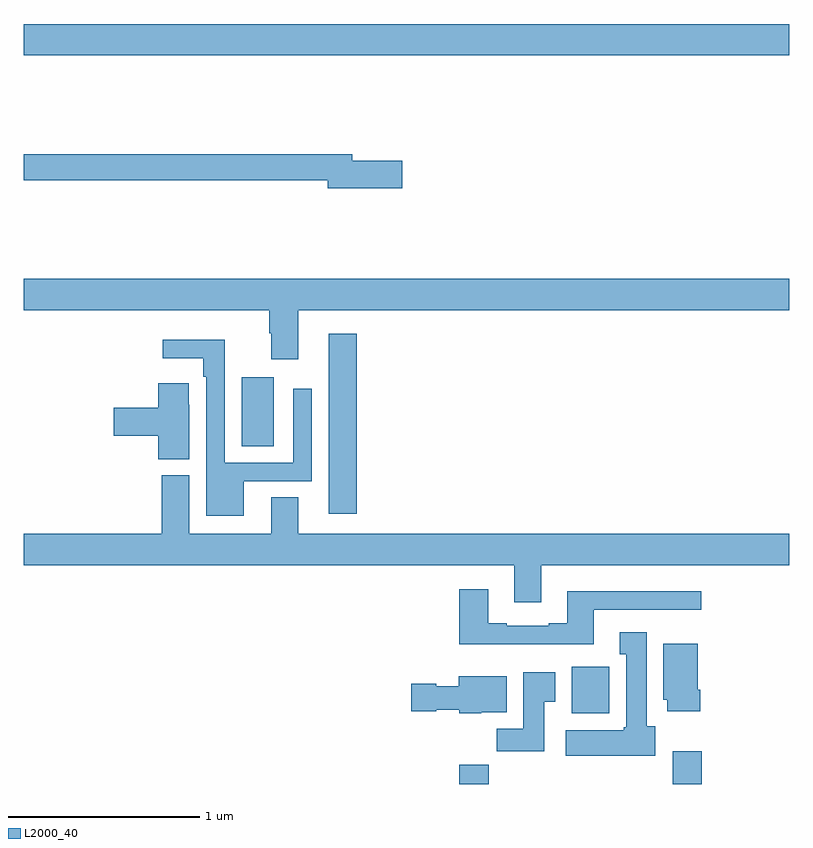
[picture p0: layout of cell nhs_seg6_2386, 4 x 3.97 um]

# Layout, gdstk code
import gdstk
lib = gdstk.Library(unit=1e-6, precision=1e-09)
def R(c, l, rs):  # rectangles x0, y0, x1, y1
    for r in rs: c.add(gdstk.rectangle(r[:2], r[2:], *l))
def P(c, l, *ps):  # polygons
    for p in ps: c.add(gdstk.Polygon(p, *l))
L2000_40 = (2000, 40)

nhs_seg6_2386 = lib.new_cell('nhs_seg6_2386')
R(nhs_seg6_2386, L2000_40, [(255.275,971.5,255.431,971.6), (256.391,971.5,256.544,971.671), (255.863,971.87,256.06,972.112), (254.594,972.912,254.741,973.852), (254.138,973.264,254.305,973.627), (253,975.308,257,975.472)])
P(nhs_seg6_2386, L2000_40, [(254.977,974.756),(254.716,974.756),(254.716,974.792),(253,974.792),(253,974.656),(254.588,974.656),(254.588,974.614),(254.977,974.614)],
  [(254.434,973.976),(257,973.976),(257,974.14),(253,974.14),(253,973.976),(254.282,973.976),(254.282,973.856),(254.294,973.856),(254.294,973.719),(254.434,973.719)],
  [(254.149,973.083),(254.505,973.083),(254.505,973.567),(254.409,973.567),(254.409,973.179),(254.049,973.179),(254.049,973.822),(253.725,973.822),(253.725,973.724),(253.937,973.724),(253.937,973.628),(253.953,973.628),(253.953,972.902),(254.149,972.902)],
  [(253.864,973.481),(253.863,973.481),(253.863,973.594),(253.703,973.594),(253.703,973.466),(253.47,973.466),(253.47,973.319),(253.703,973.319),(253.703,973.198),(253.864,973.198)],
  [(255.563,972.45),(255.703,972.45),(255.703,972.644),(257,972.644),(257,972.808),(254.434,972.808),(254.434,972.998),(254.294,972.998),(254.294,972.808),(253.864,972.808),(253.864,973.113),(253.721,973.113),(253.721,972.808),(253,972.808),(253,972.644),(255.563,972.644)],
  [(255.979,972.411),(256.54,972.411),(256.54,972.508),(255.839,972.508),(255.839,972.34),(255.743,972.34),(255.743,972.327),(255.523,972.327),(255.523,972.34),(255.427,972.34),(255.427,972.517),(255.275,972.517),(255.275,972.23),(255.979,972.23)],
  [(256.3,971.802),(256.255,971.802),(256.255,972.292),(256.115,972.292),(256.115,972.179),(256.148,972.179),(256.148,971.796),(256.135,971.796),(256.135,971.782),(255.831,971.782),(255.831,971.648),(256.3,971.648)],
  [(256.535,971.992),(256.522,971.992),(256.522,972.232),(256.343,972.232),(256.343,971.94),(256.364,971.94),(256.364,971.88),(256.535,971.88)],
  [(255.721,971.929),(255.778,971.929),(255.778,972.085),(255.611,972.085),(255.611,971.788),(255.472,971.788),(255.472,971.67),(255.721,971.67)],
  [(255.39,971.876),(255.523,971.876),(255.523,972.064),(255.272,972.064),(255.272,972.01),(255.156,972.01),(255.156,972.023),(255.024,972.023),(255.024,971.881),(255.156,971.881),(255.156,971.888),(255.276,971.888),(255.276,971.87),(255.39,971.87)])

lib.write_gds('nhs_seg6_2386.gds')
